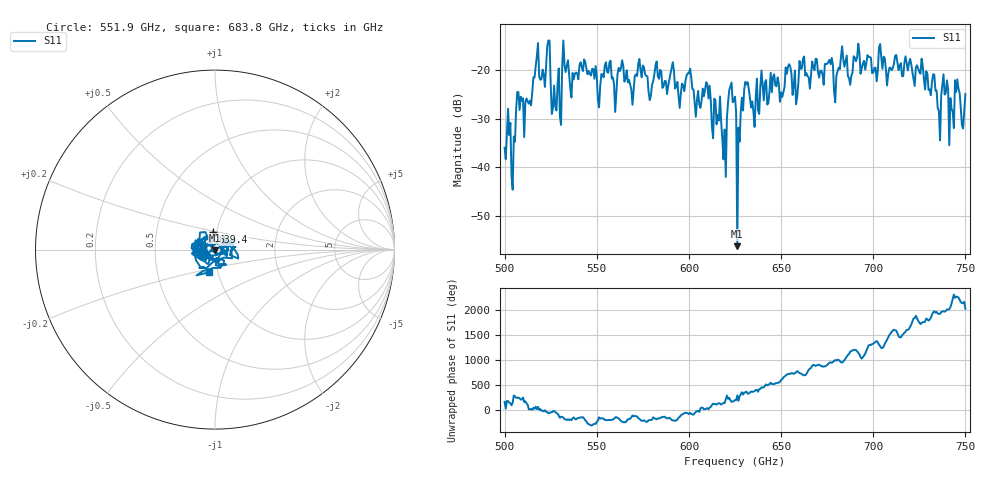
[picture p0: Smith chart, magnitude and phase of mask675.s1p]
!Created with skrf (http://scikit-rf.org).
# GHz S MA R 50.0
!freq magS11 angS11
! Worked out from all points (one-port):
!   401 points, 500 GHz to 750 GHz, reference 50 ohm
!   lowest |S11| = -56.3 dB at 626.2 GHz (marker M1), VSWR 1.00, Z = 50.1 - j0.137 ohm
!   |S11| at or under -10 dB: start of sweep to end of sweep
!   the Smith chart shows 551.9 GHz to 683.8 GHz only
!   S11 on the Smith chart (normalised r, x): 551.9 GHz: 0.87, -0.03; 639.4 GHz: 0.96, +0.19; 683.8 GHz: 0.91, -0.23
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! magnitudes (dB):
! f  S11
! 500 GHz  -36.0
! 505 GHz  -33.7
! 507.5 GHz  -24.5
! 511.9 GHz  -25.8
! 516.9 GHz  -19.1
! 523.8 GHz  -13.9
! 526.9 GHz  -23.2
! 531.2 GHz  -19.1
! 533.1 GHz  -20.4
! 551.9 GHz  -23.2
! 562.5 GHz  -20.2
! 593.8 GHz  -22.4
! 610 GHz  -22.9
! 618.8 GHz  -38.4
! 623.1 GHz  -22.5
! 625 GHz  -25.5
! 626.2 GHz  -56.3
! 631.2 GHz  -22.9
! 639.4 GHz  -20.1
! 656.2 GHz  -25.1
! 683.8 GHz  -17.8
! 687.5 GHz  -23.0
! 718.8 GHz  -20.0
! 735.6 GHz  -28.4
! 739.4 GHz  -24.7
! 742.5 GHz  -28.0
! 745.6 GHz  -21.9
! 750 GHz  -24.9
